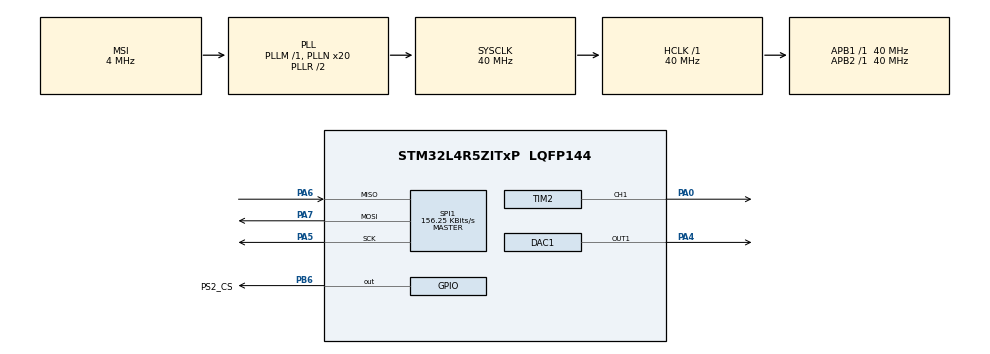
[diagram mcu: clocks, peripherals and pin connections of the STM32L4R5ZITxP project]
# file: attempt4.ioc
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DAC1.DAC_Trigger-DAC_OUT1=DAC_TRIGGER_T6_TRGO
Dma.DAC1_CH1.1.Direction=DMA_MEMORY_TO_PERIPH
Dma.DAC1_CH1.1.EventEnable=DISABLE
Dma.DAC1_CH1.1.Instance=DMA1_Channel2
Dma.DAC1_CH1.1.MemDataAlignment=DMA_MDATAALIGN_WORD
Dma.DAC1_CH1.1.MemInc=DMA_MINC_ENABLE
Dma.DAC1_CH1.1.Mode=DMA_CIRCULAR
Dma.DAC1_CH1.1.PeriphDataAlignment=DMA_PDATAALIGN_WORD
Dma.DAC1_CH1.1.PeriphInc=DMA_PINC_DISABLE
Dma.DAC1_CH1.1.Polarity=HAL_DMAMUX_REQUEST_GEN_RISING
Dma.DAC1_CH1.1.Priority=DMA_PRIORITY_LOW
Dma.DAC1_CH1.1.RequestNumber=1
Dma.DAC1_CH1.1.SignalID=NONE
Dma.DAC1_CH1.1.SyncEnable=DISABLE
Dma.DAC1_CH1.1.SyncPolarity=HAL_DMAMUX_SYNC_NO_EVENT
Dma.DAC1_CH1.1.SyncRequestNumber=1
Dma.DAC1_CH1.1.SyncSignalID=NONE
Dma.Request0=TIM2_CH1
Dma.Request1=DAC1_CH1
Dma.TIM2_CH1.0.Direction=DMA_MEMORY_TO_PERIPH
Dma.TIM2_CH1.0.EventEnable=DISABLE
Dma.TIM2_CH1.0.Instance=DMA1_Channel1
Dma.TIM2_CH1.0.MemDataAlignment=DMA_MDATAALIGN_WORD
Dma.TIM2_CH1.0.MemInc=DMA_MINC_ENABLE
Dma.TIM2_CH1.0.Mode=DMA_NORMAL
Dma.TIM2_CH1.0.PeriphDataAlignment=DMA_PDATAALIGN_WORD
Dma.TIM2_CH1.0.PeriphInc=DMA_PINC_DISABLE
Dma.TIM2_CH1.0.Polarity=HAL_DMAMUX_REQUEST_GEN_RISING
Dma.TIM2_CH1.0.Priority=DMA_PRIORITY_LOW
Dma.TIM2_CH1.0.RequestNumber=1
Dma.TIM2_CH1.0.SignalID=NONE
Dma.TIM2_CH1.0.SyncEnable=DISABLE
Dma.TIM2_CH1.0.SyncPolarity=HAL_DMAMUX_SYNC_NO_EVENT
Dma.TIM2_CH1.0.SyncRequestNumber=1
Dma.TIM2_CH1.0.SyncSignalID=NONE
Mcu.Family=STM32L4
Mcu.Name=STM32L4R5ZITxP
Mcu.Package=LQFP144
NVIC.DMA1_Channel1_IRQn=true\:0\:0\:false\:false\:true\:false\:true\:true
NVIC.DMA1_Channel2_IRQn=true\:0\:0\:false\:false\:true\:false\:true\:true
NVIC.PriorityGroup=NVIC_PRIORITYGROUP_4
NVIC.TIM2_IRQn=true\:0\:0\:false\:false\:true\:true\:true\:true
NVIC.TIM6_DAC_IRQn=true\:0\:0\:false\:false\:true\:true\:true\:true
PA0.Signal=S_TIM2_CH1
PA1.Signal=ADCx_IN6
PA10.Signal=USB_OTG_FS_ID
PA13\ (JTMS/SWDIO).Signal=SYS_JTMS-SWDIO
PA14\ (JTCK/SWCLK).Signal=SYS_JTCK-SWCLK
PA3.Signal=ADCx_IN8
PA4.Signal=COMP_DAC11_group
PA5.Mode=Full_Duplex_Master
PA5.Signal=SPI1_SCK
PA6.GPIO_PuPd=GPIO_PULLUP
PA6.Mode=Full_Duplex_Master
PA6.Signal=SPI1_MISO
PA7.Mode=Full_Duplex_Master
PA7.Signal=SPI1_MOSI
PA8.Signal=USB_OTG_FS_SOF
PA9.Signal=USB_OTG_FS_VBUS
PB0.Signal=S_TIM3_CH3
PB1.Signal=ADCx_IN16
PB10.Signal=S_TIM2_CH3
PB12.Signal=SAI2_FS_A
PB13.Signal=SAI2_SCK_A
PB14.Signal=S_TIM15_CH1
PB15.Signal=SAI2_SD_A
PB2.Signal=COMP1_INP
PB3\ (JTDO/TRACESWO).Signal=SPI3_SCK
PB4\ (NJTRST).Signal=SPI3_MISO
PB5.Signal=SPI3_MOSI
PB6.GPIO_Label=PS2_CS
PB6.Signal=GPIO_Output
PB8.Signal=I2C1_SCL
PB9.Signal=I2C1_SDA
PC0.Signal=ADCx_IN1
PC1.Signal=ADCx_IN2
PC10.Signal=SDMMC1_D2
PC11.Signal=SDMMC1_D3
PC12.Signal=SDMMC1_CK
PC13.Signal=SYS_WKUP2
PC14-OSC32_IN\ (PC14).Signal=RCC_OSC32_IN
PC15-OSC32_OUT\ (PC15).Signal=RCC_OSC32_OUT
PC2.Signal=ADCx_IN3
PC3.Signal=ADCx_IN4
PC4.Signal=ADCx_IN13
PC5.Signal=ADCx_IN14
PC6.Signal=SAI2_MCLK_A
PC7.Signal=S_TIM3_CH2
PC8.Signal=SDMMC1_D0
PC9.Signal=SDMMC1_D1
PD0.Signal=CAN1_RX
PD14.Signal=S_TIM4_CH3
PD15.Signal=S_TIM4_CH4
PD2.Signal=SDMMC1_CMD
PD3.Signal=USART2_CTS
PD4.Signal=USART2_RTS
PD5.Signal=USART2_TX
PD6.Signal=USART2_RX
PD8.Signal=USART3_TX
PD9.Signal=USART3_RX
PE0.Signal=S_TIM4_ETR
PE10.Signal=TIM1_CH2N
PE11.Signal=S_TIM1_CH2
PE12.Signal=TIM1_CH3N
PE13.Signal=S_TIM1_CH3
PE14.Signal=TIM1_BKIN2
PE15.Signal=TIM1_BKIN
PE2.Signal=SAI1_MCLK_A
PE3.Signal=SAI1_SD_B
PE7.Signal=S_TIM1_ETR
PE8.Signal=TIM1_CH1N
PE9.Signal=S_TIM1_CH1
PF0.Signal=I2C2_SDA
PF1.Signal=I2C2_SCL
PF2.Signal=I2C2_SMBA
PF7.Signal=SAI1_MCLK_B
PG7.Signal=LPUART1_TX
PG8.Signal=LPUART1_RX
PH0-OSC_IN\ (PH0).Signal=RCC_OSC_IN
PH1-OSC_OUT\ (PH1).Signal=RCC_OSC_OUT
ProjectManager.HeapSize=0x200
ProjectManager.StackSize=0x400
ProjectManager.TargetToolchain=STM32CubeIDE
RCC.AHBFreq_Value=40000000
RCC.APB1Freq_Value=40000000
RCC.APB1TimFreq_Value=40000000
RCC.APB2Freq_Value=40000000
RCC.APB2TimFreq_Value=40000000
RCC.CortexFreq_Value=40000000
RCC.HCLKFreq_Value=40000000
RCC.HSE_VALUE=8000000
RCC.HSI48_VALUE=48000000
RCC.HSI_VALUE=16000000
RCC.LSE_VALUE=32768
RCC.MSI_VALUE=4000000
RCC.PLLN=20
RCC.SYSCLKFreq_VALUE=40000000
RCC.SYSCLKSource=RCC_SYSCLKSOURCE_PLLCLK
RCC.VCOOutputFreq_Value=80000000
SH.ADCx_IN1.0=ADC1_IN1
SH.ADCx_IN13.0=ADC1_IN13
SH.ADCx_IN14.0=ADC1_IN14
SH.ADCx_IN16.0=ADC1_IN16
SH.ADCx_IN2.0=ADC1_IN2
SH.ADCx_IN3.0=ADC1_IN3
SH.ADCx_IN4.0=ADC1_IN4
SH.ADCx_IN6.0=ADC1_IN6
SH.ADCx_IN8.0=ADC1_IN8
SH.COMP_DAC11_group.0=DAC1_OUT1,DAC_OUT1
SH.S_TIM15_CH1.0=TIM15_CH1
SH.S_TIM1_CH1.0=TIM1_CH1
SH.S_TIM1_CH2.0=TIM1_CH2
SH.S_TIM1_CH3.0=TIM1_CH3
SH.S_TIM1_ETR.0=TIM1_ETR
SH.S_TIM2_CH1.0=TIM2_CH1,PWM Generation1 CH1
SH.S_TIM2_CH3.0=TIM2_CH3
SH.S_TIM3_CH2.0=TIM3_CH2
SH.S_TIM3_CH3.0=TIM3_CH3
SH.S_TIM4_CH3.0=TIM4_CH3
SH.S_TIM4_CH4.0=TIM4_CH4
SH.S_TIM4_ETR.0=TIM4_ETR
SPI1.BaudRatePrescaler=SPI_BAUDRATEPRESCALER_256
SPI1.CLKPhase=SPI_PHASE_2EDGE
SPI1.CalculateBaudRate=156.25 KBits/s
SPI1.DataSize=SPI_DATASIZE_8BIT
SPI1.Direction=SPI_DIRECTION_2LINES
SPI1.FirstBit=SPI_FIRSTBIT_LSB
SPI1.Mode=SPI_MODE_MASTER
SPI1.VirtualType=VM_MASTER
TIM2.Channel-PWM\ Generation1\ CH1=TIM_CHANNEL_1
TIM2.Period=49
TIM2.Pulse-PWM\ Generation1\ CH1=0
TIM6.Period=99
TIM6.Prescaler=19
TIM6.TIM_MasterOutputTrigger=TIM_TRGO_UPDATE
VP_TIM2_VS_ClockSourceINT.Mode=Internal
VP_TIM6_VS_ClockSourceINT.Mode=Enable_Timer
board=NUCLEO-L4R5ZI-P

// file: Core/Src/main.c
/* USER CODE BEGIN Header */
/**
  ******************************************************************************
  * @file           : main.c
  * @brief          : Main program body
  ******************************************************************************
  * @attention
  *
  * Copyright (c) 2025 STMicroelectronics.
  * All rights reserved.
  *
  * This software is licensed under terms that can be found in the LICENSE file
  * in the root directory of this software component.
  * If no LICENSE file comes with this software, it is provided AS-IS.
  *
  ******************************************************************************
  */
/* USER CODE END Header */
#include "main.h"

/* USER CODE BEGIN Includes */
#include <math.h>
#include <stdlib.h>   // for random

/* USER CODE END Includes */

/* USER CODE BEGIN PTD */

// stores data for one led
typedef struct ledData{
	uint8_t r;
	uint8_t g;
	uint8_t b;
};

/* USER CODE END PTD */

/* USER CODE BEGIN PD */
#define PS2_SELECT      0x0001
#define PS2_L3          0x0002
#define PS2_R3          0x0004
#define PS2_START       0x0008
#define PS2_UP          0x0010
#define PS2_RIGHT       0x0020
#define PS2_DOWN        0x0040
#define PS2_LEFT        0x0080
#define PS2_L2          0x0100
#define PS2_R2          0x0200
#define PS2_L1          0x0400
#define PS2_R1          0x0800
#define PS2_TRIANGLE    0x1000
#define PS2_CIRCLE      0x2000
#define PS2_X       0x4000
#define PS2_SQUARE      0x8000

// CS control macros
#define PS2_CS_LOW()  HAL_GPIO_WritePin(PS2_CS_GPIO_Port, PS2_CS_Pin, GPIO_PIN_RESET)
#define PS2_CS_HIGH() HAL_GPIO_WritePin(PS2_CS_GPIO_Port, PS2_CS_Pin, GPIO_PIN_SET)

// Audio Settings
#define SAMPLE_RATE 20000   // Timer 6 will run at this fixed frequency
#define BUFFER_SIZE 256     // Size of the DMA buffer (processed in two halves of 128)
#define SINE_RES 2048       // Resolution of our sine wave table (larger = smoother)

// notes
#define B2 123.47
#define C3 130.81
#define C3S 138.59
#define D3 146.83
#define D3S 155.56
#define E3 164.81
#define F3 174.61
#define F3S 185.00
#define G3 196.00
#define G3S 207.65
#define A3 220.00
#define A3S 233.08
#define B3 246.94
#define C4 261.63
#define C4S 277.18
#define D4 293.66
#define D4S 311.13
#define E4 329.63
#define F4 349.23
#define F4S 369.99
#define G4 392.00
#define G4S 415.30
#define A4 440.00
#define A4S 466.16
#define B4 493.88
#define C5 523.25
#define C5S 554.37
#define D5 587.33
#define D5S 622.25
#define E5 659.25
#define F5 698.46
#define F5S 739.99
#define G5 783.99
#define G5S 830.61
#define A5 880.00
#define A5S 932.33
#define B5 987.77
#define C6 1046.50
#define C6S 1108.73
#define D6 1174.66
#define D6S 1244.51
#define E6 1318.51
#define F6 1396.91
#define F6S 1479.98
#define G6 1567.98

/* USER CODE END PD */

DAC_HandleTypeDef hdac1;
DMA_HandleTypeDef hdma_dac1_ch1;

SPI_HandleTypeDef hspi1;

TIM_HandleTypeDef htim2;
TIM_HandleTypeDef htim6;
DMA_HandleTypeDef hdma_tim2_ch1;

/* USER CODE BEGIN PV */

//                   _         _   _
//                  (_)       | | | |
//   _ __ ___   __ _ _ _ __   | |_| |__   ___ _ __ ___   ___
//  | '_ ` _ \ / _` | | '_ \  | __| '_ \ / _ \ '_ ` _ \ / _ \
//  | | | | | | (_| | | | | | | |_| | | |  __/ | | | | |  __/
//  |_| |_| |_|\__,_|_|_| |_|  \__|_| |_|\___|_| |_| |_|\___|
//  ========  composed by Ishan Kumar - 11/25/2025  =========
				          // 1                            //2                             //3                             //4                             //5                             //6                             //7                             //8                             //9                             //10                            //11                            //12                            //13                            //14                            //15                            //16
int bass[128]          = {E3, E4, E3, E4, E3, E4, E3, E4, E3, E4, E3, E4, E3, E4, E3, E4, D3, D4, D3, D4, D3, D4, D3, D4, D3, D4, D3, D4, D3, D4, D3, D4, C3, C4, C3, C4, C3, C4, C3, C4, C3, C4, C3, C4, C3, C4, C3, C4, B2, B3, B2, B3, B2, B3, B2, B3, B2, B3, B2, B3, B2, B3, B2, B3, E3, E4, E3, E4, E3, E4, E3, E4, E3, E4, E3, E4, E3, E4, E3, E4, D3, D4, D3, D4, D3, D4, D3, D4, D3, D4, D3, D4, D3, D4, D3, D4, C3, C4, C3, C4, C3, C4, C3, C4, C3, C4, C3, C4, C3, C4, C3, C4, B2, B3, B2, B3, B2, B3, B2, B3, B2, B3, B2, B3, B2, B3, B2, B3 };
int melody[128]        = {B5, B5, G5, G5, E5, E5, E5, E5, 00, E5, 00, C6, B5, B5, A5, A5, B5, B5, G5, G5, E5, E5, E5, E5, 00, E5, 00, C6, B5, B5, A5, A5, B5, B5, G5, G5, E5, E5, E5, E5, 00, E5, 00, C6, B5, B5, A5, A5, B5, B5, C6, B5, B5, C6, B5, B5, C6, B5, B5, B5, B5, B5, B5, B5, B5, B5, G5, G5, E5, E5, E5, E5, 00, E5, 00, C6, B5, B5, A5, A5, B5, B5, G5, G5, E5, E5, E5, E5, 00, E5, 00, C6, B5, B5, A5, A5, B5, B5, G5, G5, E5, E5, E5, E5, 00, E5, 00, C6, B5, B5, A5, A5, B5, B5, C6, B5, B5, C6, B5, B5, C6, B5, B5, B5, B5, B5, B5, B5 };
int counterMelody[128] = {00, 00, 00, 00, 00, 00, 00, 00, 00, 00, 00, 00, 00, 00, 00, 00, 00, 00, 00, 00, 00, 00, 00, 00, 00, 00, 00, 00, 00, 00, 00, 00, 00, 00, 00, 00, 00, 00, 00, 00, 00, 00, 00, 00, 00, 00, 00, 00, 00, 00, 00, 00, 00, D3S,00, D3S,00, D3S,00, D3S,00, D3S,00, D3S,E6, E6, E6, E6, E6, E6, E6, E6, E6, E6, E6, E6, G6, G6, G6, G6, F6S,F6S,F6S,F6S,F6S,F6S,F6S,F6S,F6S,F6S,F6S,F6S,D6S,D6S,D6S,D6S,E6, E6, E6, E6, E6, E6, E6, E6, E6, E6, E6, E6, D6S,D6S,D6S,D6S,00, 00, 00, 00, 00, D3S,00, D3S,00, D3S,00, D3S,00, D3S,00, D3S};
int chordSupport[128]  = {00, 00, 00, 00, 00, 00, 00, 00, 00, 00, 00, 00, 00, 00, 00, 00, 00, 00, 00, 00, 00, 00, 00, 00, 00, 00, 00, 00, 00, 00, 00, 00, 00, 00, 00, 00, 00, 00, 00, 00, 00, 00, 00, 00, 00, 00, 00, 00, 00, 00, 00, 00, 00, 00 ,00, 00 ,00, F3S,00, F3S,00, F3S,00, F3S,00, 00, 00, 00, 00, 00, 00, 00, 00, 00, 00, 00, 00, 00, 00, 00, 00, 00, 00, 00, 00, 00, 00, 00, 00, 00, 00, 00, 00, 00, 00, 00, 00, 00, 00, 00, 00, 00, 00, 00, 00, 00, 00, 00, 00, 00, 00, 00, 00, 00, 00, 00, 00, 00 ,00, 00 ,00, F3S,00, F3S,00, F3S,00, F3S};

//minesweeper variables
#define GRID_W 24
#define GRID_H 24

typedef enum {
    TILE_EMPTY = 0,
    TILE_1,
    TILE_2,
    TILE_3,
    TILE_BOMB
} TileContent;

typedef enum {
    STATE_HIDDEN = 0,
    STATE_REVEALED,
    STATE_FLAGGED
} TileState;

TileContent board[GRID_H][GRID_W];
TileState  tileState[GRID_H][GRID_W];

int gameOver = 0;
int gameWon = 0;
int winPulseTimer = 0;
int testMode = 0;

//this is gonna break bruh
int animRevealStep[GRID_H][GRID_W];
int floodAnimating = 0;
int floodAnimFrame = 0;
int floodAnimTimer = 0;
int floodMaxStep = 0;

int cursorX = 0;
int cursorY = 0;

int flagSoundToggle = 0;
int playedLosingSoundEffect = 0;

// PS2 Controller variables
int32_t current_value = 50;
uint16_t prev_buttons = 0xFFFF;

// storage for whole screen
#define NUM_LEDS (GRID_W * GRID_H)
struct ledData storage[NUM_LEDS];

// buffer storage
#define RESET_PULSES 60 // need this because stm has done nothing but ruin my life and im tired of it
uint32_t pwmBuffer[RESET_PULSES + (NUM_LEDS * 24)]; // 24 bits per led (plus our 60 0s at the start)

// audio stuffs
uint32_t dmaBuffer[BUFFER_SIZE];
int16_t sineLUT[SINE_RES];

// Voice Structure (Represents one "Note")
typedef struct {
    uint8_t active;
    float frequency;
    float phase;       // Current position in the sine wave
    float phaseStep;   // How much to step forward per sample
} Voice;

// 5th voice (index 4) reserved for sound effects
#define MAX_VOICES 5
Voice voices[MAX_VOICES];

// Initialization Flag
uint8_t audioInitialized = 0;

//brightness variable
uint8_t brightness = 40;

/* USER CODE END PV */

void SystemClock_Config(void);
static void MX_GPIO_Init(void);
static void MX_DMA_Init(void);
static void MX_TIM2_Init(void);
static void MX_SPI1_Init(void);
static void MX_DAC1_Init(void);
static void MX_TIM6_Init(void);
/* USER CODE BEGIN PFP */

// PS2 Controller function prototypes
uint8_t PS2_TransferByte(uint8_t data);
uint8_t PS2_ReadController(uint16_t *buttons);
void PS2_Init(void);
void PS2_ProcessButtons(uint16_t buttons);
void PS2_MainTask(void);

//minesweeper functions
void Minesweeper_Render(void);
void setPixel(int x, int y, uint8_t r, uint8_t g, uint8_t b);
void revealTileAtCursor(void);
void toggleFlagAtCursor(void);
void onXPress(void);
void floodReveal(int startX, int startY);
void checkWin(void);
//16 x 16 grid for now

/* USER CODE END PFP */

/* USER CODE BEGIN 0 */

void InitAudio() {
    // 1. Generate a high-res sine table
    for(int i = 0; i < SINE_RES; i++) {
        // Range: -1900 to +1900
        sineLUT[i] = (int16_t)(1900.0f * sinf(2.0f * 3.14159f * (float)i / (float)SINE_RES));
    }

    // 2. Clear voices
    for(int i = 0; i < MAX_VOICES; i++) {
        voices[i].active = 0;
        voices[i].phase = 0;
    }

    // 3. Start Timer at FIXED frequency (e.g. 22kHz)
    // Note: Configure TIM6 in CubeMX to trigger at 22000Hz
    HAL_TIM_Base_Start(&htim6);

    // 4. Start DAC with Circular DMA
    HAL_DAC_Start_DMA(&hdac1, DAC_CHANNEL_1, (uint32_t*)dmaBuffer, BUFFER_SIZE, DAC_ALIGN_12B_R);

    audioInitialized = 1;
}

// Process a portion of the buffer (start to end)
void FillBuffer(uint32_t *buffer, int start, int length) {
    for (int i = 0; i < length; i++) {
        int32_t sampleAccumulator = 0;
        int activeCount = 0;

        // Loop through all voices (Polyphony!)
        for (int v = 0; v < MAX_VOICES; v++) {
            if (voices[v].active) {
                // 1. Get the integer part of the phase index
                int idx = (int)voices[v].phase;

                // 2. Add sample from LUT to accumulator
                sampleAccumulator += sineLUT[idx];

                // 3. Advance phase
                voices[v].phase += voices[v].phaseStep;

                // 4. Wrap phase if it exceeds table size
                if (voices[v].phase >= SINE_RES) {
                    voices[v].phase -= SINE_RES;
                }
                activeCount++;
            }
        }

        // 5. Handling Volume/Clipping
        // If we simply add two waves of 1900 amplitude, we get 3800.
        // 3800 + 2048 (center) = 5848 -> DAC Overflow!
        // Simple fix: Divide result by number of active voices or a fixed number.
        if (activeCount > 0) {
            sampleAccumulator /= activeCount; // Auto-gain
        }

        // 6. Write to buffer: Center Offset + Mixed Signal
        buffer[start + i] = (uint32_t)(2048 + sampleAccumulator);
    }
}

// Called when first half of buffer is played
void HAL_DAC_ConvHalfCpltCallbackCh1(DAC_HandleTypeDef *hdac) {
    FillBuffer(dmaBuffer, 0, BUFFER_SIZE / 2);
}

// Called when second half of buffer is played
void HAL_DAC_ConvCpltCallbackCh1(DAC_HandleTypeDef *hdac) {
    FillBuffer(dmaBuffer, BUFFER_SIZE / 2, BUFFER_SIZE / 2);
}

void PlayNote(int voiceIndex, float freq) {
    if (voiceIndex >= MAX_VOICES) return;

    if (freq == 0) {
        voices[voiceIndex].active = 0;
    } else {
        // Calculate Step Size
        // Formula: Step = (LUT_Size * Freq) / Sample_Rate
        voices[voiceIndex].phaseStep = ((float)SINE_RES * freq) / (float)SAMPLE_RATE;
        voices[voiceIndex].active = 1;
    }
}

void Minesweeper_InitBoard(void) {
    // 0) Reset state
    gameOver = 0;
    gameWon  = 0;
    winPulseTimer = 0;

    //animation stuff
    floodAnimating = 0;
    floodAnimFrame = 0;
    floodAnimTimer = 0;
    floodMaxStep   = 0;

    // clear state
    for (int y = 0; y < GRID_H; y++) {
        for (int x = 0; x < GRID_W; x++) {
            board[y][x] = TILE_EMPTY;
            tileState[y][x] = STATE_HIDDEN;
        }
    }

    // bombs
    if (testMode) {
        //one bomb in middle test mode
        int cx = GRID_W / 2;   // for 16 to 8
        int cy = GRID_H / 2;   // for 16 to 8
        if (cx >= GRID_W) cx = GRID_W - 1;
        if (cy >= GRID_H) cy = GRID_H - 1;
        board[cy][cx] = TILE_BOMB;
    } else {
       //normal
        srand(HAL_GetTick());

        int numBombs = 40;      // adjutsable
        int placed = 0;

        while (placed < numBombs) {
            int rx = rand() % GRID_W;
            int ry = rand() % GRID_H;

            if (board[ry][rx] != TILE_BOMB) {
                board[ry][rx] = TILE_BOMB;
                placed++;
            }
        }
    }

    // adjacency computing
    for (int y = 0; y < GRID_H; y++) {
        for (int x = 0; x < GRID_W; x++) {

            if (board[y][x] == TILE_BOMB)
                continue;

            int neighbors = 0;

            for (int dy = -1; dy <= 1; dy++) {
                for (int dx = -1; dx <= 1; dx++) {
                    if (dx == 0 && dy == 0) continue;
                    int nx = x + dx;
                    int ny = y + dy;
                    if (nx < 0 || nx >= GRID_W || ny < 0 || ny >= GRID_H)
                        continue;

                    if (board[ny][nx] == TILE_BOMB)
                        neighbors++;
                }
            }

            // can add more with diffculty scaling, net steps
            switch (neighbors) {
                case 0: board[y][x] = TILE_EMPTY; break;
                case 1: board[y][x] = TILE_1;     break;
                case 2: board[y][x] = TILE_2;     break;
                default: board[y][x] = TILE_3;    break;
            }
        }
    }
}

//inprogress // see if i can make it a ripple

void checkWin(void){
	if(gameOver) return;
    for (int y = 0; y < GRID_H; y++) {
        for (int x = 0; x < GRID_W; x++) {
            if (board[y][x] != TILE_BOMB &&
                tileState[y][x] != STATE_REVEALED) {

                return;
            }
        }
    }

    //status check
    gameOver = 1;
    gameWon  = 1;
}

//not fulyl working yet
void floodReveal(int startX, int startY) {
    // clear animation
    for (int y = 0; y < GRID_H; y++) {
        for (int x = 0; x < GRID_W; x++) {
            animRevealStep[y][x] = -1;
        }
    }

    int qx[GRID_W * GRID_H];
    int qy[GRID_W * GRID_H];
    int qd[GRID_W * GRID_H];
    int head = 0;
    int tail = 0;

    qx[tail] = startX;
    qy[tail] = startY;
    qd[tail] = 0;
    tail++;

    floodMaxStep = 0;

    while (head < tail) {
        int x = qx[head];
        int y = qy[head];
        int d = qd[head];
        head++;

        // bounds
        if (x < 0 || x >= GRID_W || y < 0 || y >= GRID_H)
            continue;

        // skip bombs
        if (board[y][x] == TILE_BOMB)
            continue;

        // skip flagged
        if (tileState[y][x] == STATE_FLAGGED ||
            tileState[y][x] == STATE_REVEALED)
            continue;

        // logical reveal
        tileState[y][x] = STATE_REVEALED;

        // rstore
        animRevealStep[y][x] = d;
        if (d > floodMaxStep) {
            floodMaxStep = d;
        }

        // problem here i think
        if (board[y][x] == TILE_EMPTY) {
            for (int dy = -1; dy <= 1; dy++) {
                for (int dx = -1; dx <= 1; dx++) {
                    if (dx == 0 && dy == 0) continue;
                    int nx = x + dx;
                    int ny = y + dy;
                    if (nx < 0 || nx >= GRID_W || ny < 0 || ny >= GRID_H)
                        continue;

                    if (board[ny][nx] == TILE_BOMB)
                        continue;

                    if (tileState[ny][nx] == STATE_HIDDEN) {
                        if (tail < GRID_W * GRID_H) {
                            qx[tail] = nx;
                            qy[tail] = ny;
                            qd[tail] = d + 1;
                            tail++;
                        }
                    }
                }
            }
        }
    }

    // enable
    floodAnimating = 1;
    floodAnimFrame = 0;
    floodAnimTimer = 0;
}

static inline uint8_t scaleColor(uint8_t c) {
    return (c * brightness) / 255;
}

static void colorForNumber(TileContent t, uint8_t *r, uint8_t *g, uint8_t *b) {
    switch (t) {
        case TILE_1: *r = 0;   *g = 0;   *b = 180; break; // blue
        case TILE_2: *r = 0;   *g = 180; *b = 0;   break; // green
        //case TILE_3: *r = 255; *g = 120;   *b = 0;   break; // orange
        case TILE_3: *r = 220; *g = 0;   *b = 140;   break; // pink
        default:      *r = 0;   *g = 0;   *b = 0;   break;
    }
}

void Minesweeper_Render(void) {
    for (int y = 0; y < GRID_H; y++) {
        for (int x = 0; x < GRID_W; x++) {

            uint8_t r = 0, g = 0, b = 0;

            if (gameOver && !gameWon && board[y][x] == TILE_BOMB) {
            	//shows bombs
                        r = 200; g = 0; b = 0;
            } else {
                switch (tileState[y][x]) {
                    case STATE_HIDDEN:
                        // grey for hidden
                        r = g = b = 0;
                        break;

                    case STATE_FLAGGED:
                        // flagged = yello
                        r = 200; g = 200; b = 0;
                        break;

                    case STATE_REVEALED:
                       //goes with ripple
                        if (floodAnimating &&
                            animRevealStep[y][x] >= 0 &&
                            animRevealStep[y][x] > floodAnimFrame
                           )
                        {

                            r = g = b = 0; //hidden
                        }
                        else
                        {

                            if (board[y][x] == TILE_BOMB) {
                                r = 200; g = 0; b = 0;
                            } else if (board[y][x] == TILE_EMPTY) {
                                r = g = b = 40;
                            } else {
                                colorForNumber(board[y][x], &r, &g, &b);
                            }
                        }
                        break;
                }
            }

            //new game won function, pulsing green
            if (gameWon) {

                int pulse = winPulseTimer % 100;
                int bright = (pulse < 50) ? pulse : (100 - pulse);

                uint8_t gv = bright * 4;

                r = 0;
                g = gv;
                b = 0;
            }

            // Cursor highlight overlay
            if (!gameWon && x == cursorX && y == cursorY) {
//                if (r < 40) r = 40;
//                if (g < 40) g = 40;
//                if (b < 40) b = 40;

            	//above is for whie
            	r =255;
				g = 0;
				b = 0;

            }

            setPixel(x, y,
                     scaleColor(r),
                     scaleColor(g),
                     scaleColor(b));
        }
    }
}

void revealTileAtCursor(void) {
    if (gameOver) return;

    int x = cursorX;
    int y = cursorY;

    // don't reveal already revealed or flagged
    if (tileState[y][x] == STATE_REVEALED ||
        tileState[y][x] == STATE_FLAGGED) {
        return;
    }

    // bomb end game
    if (board[y][x] == TILE_BOMB) {
        tileState[y][x] = STATE_REVEALED;
        gameOver = 1;
        return;
    }

    if (board[y][x] == TILE_EMPTY) {
        floodReveal(x, y);
        checkWin();
        return;
    }

    tileState[y][x] = STATE_REVEALED;
    checkWin();
}

void toggleFlagAtCursor(void) {
    if (gameOver) return;

    TileState *s = &tileState[cursorY][cursorX];
    if (*s == STATE_HIDDEN) {
        *s = STATE_FLAGGED;
    } else if (*s == STATE_FLAGGED) {
        *s = STATE_HIDDEN;
    }
}

void onXPress() {
    revealTileAtCursor();
}

uint8_t PS2_TransferByte(uint8_t data) {
    uint8_t rx_data;
    HAL_SPI_TransmitReceive(&hspi1, &data, &rx_data, 1, 100);
    return rx_data;
}

//debugging below
uint8_t PS2_ReadController(uint16_t *buttons) {
    uint8_t data[9] = {0};

    // Pull ATT low to start communication
    PS2_CS_LOW();
    HAL_Delay(20);

    // Send command sequence
    uint8_t cmd[9] = {0x01, 0x42, 0x00, 0x00, 0x00, 0x00, 0x00, 0x00, 0x00};
    HAL_SPI_TransmitReceive(&hspi1, cmd, data, 9, 100);
    // Pull ATT high to end communication
    PS2_CS_HIGH();
    HAL_Delay(10);

   //debug
//    printf("Response bytes: %02X %02X %02X %02X %02X %02X %02X %02X %02X\r\n",
//           data[0], data[1], data[2], data[3], data[4], data[5], data[6], data[7], data[8]);

     //DON'T validate - just always return success for debugging
    *buttons = (data[4] << 8) | data[3];
   // printf("button value: %x", *buttons);
    return 1;
}

void PS2_Init(void) {
    PS2_CS_HIGH();
    HAL_Delay(500);  // Let controller fully stabilize

    // Flush initial garbage reads - READ BUT IGNORE
    uint16_t dummy;
    for (int i = 0; i < 10; i++) {
        PS2_ReadController(&dummy);
        HAL_Delay(50);
    }

    // Reset button state after flushing
    prev_buttons = 0xFFFF;  // All buttons released
}

void PS2_ProcessButtons(uint16_t buttons) {

    if (buttons == 0xFFFF) {
        return;
    }
    uint16_t pressed = (~buttons) & (prev_buttons);
    prev_buttons = buttons;
    if (pressed == 0) {
        return;
    }

    if (pressed & PS2_UP) {
    	if (cursorY == GRID_H - 1){
    		cursorY = 0;
    	} else {
    		cursorY++;
    	}
    }

    if (pressed & PS2_DOWN) {
    	if (cursorY == 0){
    		cursorY == GRID_H - 1;
    	} else {
    		cursorY--;
    	}
    }

    if (pressed & PS2_LEFT) {
    	if (cursorX == 0){
    		cursorX = GRID_W - 1;
    	} else {
    		cursorX--;
    	}
    }

    if (pressed & PS2_RIGHT) {
    	if (cursorX == GRID_W - 1){
    		cursorX = 0;
    	} else {
    		cursorX++;
    	}
    }

    if (pressed & PS2_X) {
    	onXPress();
    }

    if (pressed & PS2_CIRCLE) { //minsweeper flag
        toggleFlagAtCursor();
        flagSoundToggle = 1;
    }

    if (pressed & PS2_TRIANGLE) {
        Minesweeper_InitBoard();
        cursorX = 0;
        cursorY = 0;
        playedLosingSoundEffect = 0;
    }
    if (pressed & PS2_SQUARE) {
        // tyoggle test
        if (testMode == 0) {
            testMode = 1;  // enter  test mode
        } else {
            testMode = 0;  // go back to normal random mode
        }

        Minesweeper_InitBoard();  // rebuild board using new mode
        cursorX = 0;
        cursorY = 0;
    }
}

void PS2_MainTask(void){
    uint16_t buttons;

    PS2_ReadController(&buttons);
    PS2_ProcessButtons(buttons);
}

// this code runs when the data transfer is complete and stops it from repeating
void HAL_TIM_PWM_PulseFinishedCallback(TIM_HandleTypeDef *htim){
	HAL_TIM_PWM_Stop_DMA(&htim2, TIM_CHANNEL_1);
	HAL_TIM_PWM_Stop(&htim2, TIM_CHANNEL_1);
}

// write all leds to buffer
void writeLedsToBuffer(){
	for (int i = 0; i < 60; i++){
		pwmBuffer[i] = 0; // i hate you stm. why.
	}

	for (int i = 0; i < NUM_LEDS; i++){
		// write g data
		for (int bit = 0; bit < 8; bit++){
			int temp = (storage[i].g >> bit) & 1; // take one bit at a time
			if (temp == 1){
				// index to spot in buffer
				pwmBuffer[RESET_PULSES + (i*24) + 7 - bit] = 32; // CCR value for high
			} else {
				pwmBuffer[RESET_PULSES + (i*24) + 7 - bit] = 16; // CCR value for low
			}
		}

		// write r data
		for (int bit = 0; bit < 8; bit++){
			int temp = (storage[i].r >> bit) & 1; // take one bit at a time
			if (temp == 1){
				// index to spot in buffer
				pwmBuffer[RESET_PULSES + (i*24) + 8 + 7 - bit] = 32; // CCR value for high
			} else {
				pwmBuffer[RESET_PULSES + (i*24) + 8 + 7 - bit] = 16; // CCR value for low
			}
		}

		// write b data
		for (int bit = 0; bit < 8; bit++){
			int temp = (storage[i].b >> bit) & 1; // take one bit at a time
			if (temp == 1){
				// index to spot in buffer
				pwmBuffer[RESET_PULSES + (i*24) + 16 + 7 - bit] = 32; // CCR value for high
			} else {
				pwmBuffer[RESET_PULSES + (i*24) + 16 + 7 - bit] = 16; // CCR value for low
			}
		}
	}
}

void showLeds(){
	writeLedsToBuffer();
	HAL_TIM_PWM_Start_DMA(&htim2, TIM_CHANNEL_1, pwmBuffer, RESET_PULSES + (NUM_LEDS * 24));
}

// test this
// x and y -> 0 to 15 each.
// r, g, and b -> 0 to 255 each.
void setPixel(int x, int y, uint8_t r, uint8_t g, uint8_t b){

  int realIndex = 0;

  if (y % 2 == 0) {
    // even row
	  realIndex = y * GRID_W + x;
  } else {
    // odd row (reversed)
	  realIndex = y * GRID_W + (GRID_W - 1 - x);
  }

  storage[realIndex] = (struct ledData){r, g, b};
}

/* USER CODE END 0 */

int main(void)
{

  /* MCU Configuration--------------------------------------------------------*/

  /* Reset of all peripherals, Initializes the Flash interface and the Systick. */
  HAL_Init();

  /* Configure the system clock */
  SystemClock_Config();

  /* Initialize all configured peripherals */
  MX_GPIO_Init();
  MX_DMA_Init();
  MX_TIM2_Init();
  MX_SPI1_Init();
  MX_DAC1_Init();
  MX_TIM6_Init();
  /* USER CODE BEGIN 2 */

  InitAudio();

  //HAL_TIM_PWM_Start_DMA(&htim2, TIM_CHANNEL_1, pwmData, 4);
  //HAL_TIM_PWM_Start(&htim2, TIM_CHANNEL_1);

    PS2_Init();
    Minesweeper_InitBoard();

  /* USER CODE END 2 */

  /* Infinite loop */
  /* USER CODE BEGIN WHILE */

  int currNote = 0;
  int prescalerForMusic = 0;

  while (1)
  {
	// if game over, play sad trombone
	if (gameOver && !playedLosingSoundEffect){
	    PlayNote(0, D5);
	    PlayNote(1, 0);
	    PlayNote(2, 0);
	    PlayNote(3, 0);
	    HAL_Delay(600);
	    PlayNote(0, C5S);
	    HAL_Delay(600);
	    PlayNote(0, C5);
	    HAL_Delay(600);
	    PlayNote(0, B4);
	    HAL_Delay(3000);
	    playedLosingSoundEffect = 1;
	}

	// play music
	if (prescalerForMusic < 3){
		prescalerForMusic++;
	} else {
		prescalerForMusic = 0;

		// every 185 ms
		if (currNote == 128) {
			currNote = 0;
		} else {
		    PlayNote(0, bass[currNote]);
		    PlayNote(1, melody[currNote]);
		    PlayNote(2, counterMelody[currNote]);
		    PlayNote(3, chordSupport[currNote]);
		    PlayNote(4, 0);

		    if (flagSoundToggle){
			    PlayNote(4, C5);
			    flagSoundToggle = 0;
		    }

		    currNote++;
		}
	}

	PS2_MainTask();        // read controller, update cursor + buttons
    Minesweeper_Render();  // draw entire board + cursor into storage[]
    showLeds();            // send storage[] out via DMAf

    if (gameWon) {
        winPulseTimer++;
    }
    //anjimattion
    if (floodAnimating) {
        floodAnimTimer++;
                 if (floodAnimTimer >= 3) {
            floodAnimTimer = 0;
            floodAnimFrame++;

            if (floodAnimFrame > floodMaxStep) {
                floodAnimating = 0;
            }
        }
    }

    HAL_Delay(5);

    /* USER CODE END WHILE */

  }
}

void SystemClock_Config(void)
{
  RCC_OscInitTypeDef RCC_OscInitStruct = {0};
  RCC_ClkInitTypeDef RCC_ClkInitStruct = {0};

  /** Configure the main internal regulator output voltage
  */
  if (HAL_PWREx_ControlVoltageScaling(PWR_REGULATOR_VOLTAGE_SCALE1) != HAL_OK)
  {
    Error_Handler();
  }

  /** Initializes the RCC Oscillators according to the specified parameters
  * in the RCC_OscInitTypeDef structure.
  */
  RCC_OscInitStruct.OscillatorType = RCC_OSCILLATORTYPE_MSI;
  RCC_OscInitStruct.MSIState = RCC_MSI_ON;
  RCC_OscInitStruct.MSICalibrationValue = 0;
  RCC_OscInitStruct.MSIClockRange = RCC_MSIRANGE_6;
  RCC_OscInitStruct.PLL.PLLState = RCC_PLL_ON;
  RCC_OscInitStruct.PLL.PLLSource = RCC_PLLSOURCE_MSI;
  RCC_OscInitStruct.PLL.PLLM = 1;
  RCC_OscInitStruct.PLL.PLLN = 20;
  RCC_OscInitStruct.PLL.PLLP = RCC_PLLP_DIV2;
  RCC_OscInitStruct.PLL.PLLQ = RCC_PLLQ_DIV2;
  RCC_OscInitStruct.PLL.PLLR = RCC_PLLR_DIV2;
  if (HAL_RCC_OscConfig(&RCC_OscInitStruct) != HAL_OK)
  {
    Error_Handler();
  }

  /** Initializes the CPU, AHB and APB buses clocks
  */
  RCC_ClkInitStruct.ClockType = RCC_CLOCKTYPE_HCLK|RCC_CLOCKTYPE_SYSCLK
                              |RCC_CLOCKTYPE_PCLK1|RCC_CLOCKTYPE_PCLK2;
  RCC_ClkInitStruct.SYSCLKSource = RCC_SYSCLKSOURCE_PLLCLK;
  RCC_ClkInitStruct.AHBCLKDivider = RCC_SYSCLK_DIV1;
  RCC_ClkInitStruct.APB1CLKDivider = RCC_HCLK_DIV1;
  RCC_ClkInitStruct.APB2CLKDivider = RCC_HCLK_DIV1;

  if (HAL_RCC_ClockConfig(&RCC_ClkInitStruct, FLASH_LATENCY_1) != HAL_OK)
  {
    Error_Handler();
  }
}

static void MX_DAC1_Init(void)
{

  DAC_ChannelConfTypeDef sConfig = {0};

  /** DAC Initialization
  */
  hdac1.Instance = DAC1;
  if (HAL_DAC_Init(&hdac1) != HAL_OK)
  {
    Error_Handler();
  }

  /** DAC channel OUT1 config
  */
  sConfig.DAC_SampleAndHold = DAC_SAMPLEANDHOLD_DISABLE;
  sConfig.DAC_Trigger = DAC_TRIGGER_T6_TRGO;
  sConfig.DAC_HighFrequency = DAC_HIGH_FREQUENCY_INTERFACE_MODE_DISABLE;
  sConfig.DAC_OutputBuffer = DAC_OUTPUTBUFFER_ENABLE;
  sConfig.DAC_ConnectOnChipPeripheral = DAC_CHIPCONNECT_DISABLE;
  sConfig.DAC_UserTrimming = DAC_TRIMMING_FACTORY;
  if (HAL_DAC_ConfigChannel(&hdac1, &sConfig, DAC_CHANNEL_1) != HAL_OK)
  {
    Error_Handler();
  }

}

static void MX_SPI1_Init(void)
{

  /* SPI1 parameter configuration*/
  hspi1.Instance = SPI1;
  hspi1.Init.Mode = SPI_MODE_MASTER;
  hspi1.Init.Direction = SPI_DIRECTION_2LINES;
  hspi1.Init.DataSize = SPI_DATASIZE_8BIT;
  hspi1.Init.CLKPolarity = SPI_POLARITY_LOW;
  hspi1.Init.CLKPhase = SPI_PHASE_2EDGE;
  hspi1.Init.NSS = SPI_NSS_SOFT;
  hspi1.Init.BaudRatePrescaler = SPI_BAUDRATEPRESCALER_256;
  hspi1.Init.FirstBit = SPI_FIRSTBIT_LSB;
  hspi1.Init.TIMode = SPI_TIMODE_DISABLE;
  hspi1.Init.CRCCalculation = SPI_CRCCALCULATION_DISABLE;
  hspi1.Init.CRCPolynomial = 7;
  hspi1.Init.CRCLength = SPI_CRC_LENGTH_DATASIZE;
  hspi1.Init.NSSPMode = SPI_NSS_PULSE_DISABLE;
  if (HAL_SPI_Init(&hspi1) != HAL_OK)
  {
    Error_Handler();
  }

}

static void MX_TIM2_Init(void)
{

  TIM_ClockConfigTypeDef sClockSourceConfig = {0};
  TIM_MasterConfigTypeDef sMasterConfig = {0};
  TIM_OC_InitTypeDef sConfigOC = {0};

  htim2.Instance = TIM2;
  htim2.Init.Prescaler = 0;
  htim2.Init.CounterMode = TIM_COUNTERMODE_UP;
  htim2.Init.Period = 49;
  htim2.Init.ClockDivision = TIM_CLOCKDIVISION_DIV1;
  htim2.Init.AutoReloadPreload = TIM_AUTORELOAD_PRELOAD_DISABLE;
  if (HAL_TIM_Base_Init(&htim2) != HAL_OK)
  {
    Error_Handler();
  }
  sClockSourceConfig.ClockSource = TIM_CLOCKSOURCE_INTERNAL;
  if (HAL_TIM_ConfigClockSource(&htim2, &sClockSourceConfig) != HAL_OK)
  {
    Error_Handler();
  }
  if (HAL_TIM_PWM_Init(&htim2) != HAL_OK)
  {
    Error_Handler();
  }
  sMasterConfig.MasterOutputTrigger = TIM_TRGO_RESET;
  sMasterConfig.MasterSlaveMode = TIM_MASTERSLAVEMODE_DISABLE;
  if (HAL_TIMEx_MasterConfigSynchronization(&htim2, &sMasterConfig) != HAL_OK)
  {
    Error_Handler();
  }
  sConfigOC.OCMode = TIM_OCMODE_PWM1;
  sConfigOC.Pulse = 0;
  sConfigOC.OCPolarity = TIM_OCPOLARITY_HIGH;
  sConfigOC.OCFastMode = TIM_OCFAST_DISABLE;
  if (HAL_TIM_PWM_ConfigChannel(&htim2, &sConfigOC, TIM_CHANNEL_1) != HAL_OK)
  {
    Error_Handler();
  }
  HAL_TIM_MspPostInit(&htim2);

}

static void MX_TIM6_Init(void)
{

  TIM_MasterConfigTypeDef sMasterConfig = {0};

  htim6.Instance = TIM6;
  htim6.Init.Prescaler = 19;
  htim6.Init.CounterMode = TIM_COUNTERMODE_UP;
  htim6.Init.Period = 99;
  htim6.Init.AutoReloadPreload = TIM_AUTORELOAD_PRELOAD_DISABLE;
  if (HAL_TIM_Base_Init(&htim6) != HAL_OK)
  {
    Error_Handler();
  }
  sMasterConfig.MasterOutputTrigger = TIM_TRGO_UPDATE;
  sMasterConfig.MasterSlaveMode = TIM_MASTERSLAVEMODE_DISABLE;
  if (HAL_TIMEx_MasterConfigSynchronization(&htim6, &sMasterConfig) != HAL_OK)
  {
    Error_Handler();
  }

}

static void MX_DMA_Init(void)
{

  /* DMA controller clock enable */
  __HAL_RCC_DMAMUX1_CLK_ENABLE();
  __HAL_RCC_DMA1_CLK_ENABLE();

  /* DMA interrupt init */
  /* DMA1_Channel1_IRQn interrupt configuration */
  HAL_NVIC_SetPriority(DMA1_Channel1_IRQn, 0, 0);
  HAL_NVIC_EnableIRQ(DMA1_Channel1_IRQn);
  /* DMA1_Channel2_IRQn interrupt configuration */
  HAL_NVIC_SetPriority(DMA1_Channel2_IRQn, 0, 0);
  HAL_NVIC_EnableIRQ(DMA1_Channel2_IRQn);

}

static void MX_GPIO_Init(void)
{
  GPIO_InitTypeDef GPIO_InitStruct = {0};

  /* GPIO Ports Clock Enable */
  __HAL_RCC_GPIOE_CLK_ENABLE();
  __HAL_RCC_GPIOC_CLK_ENABLE();
  __HAL_RCC_GPIOF_CLK_ENABLE();
  __HAL_RCC_GPIOH_CLK_ENABLE();
  __HAL_RCC_GPIOA_CLK_ENABLE();
  __HAL_RCC_GPIOB_CLK_ENABLE();
  __HAL_RCC_GPIOD_CLK_ENABLE();
  __HAL_RCC_GPIOG_CLK_ENABLE();
  HAL_PWREx_EnableVddIO2();

  /*Configure GPIO pin Output Level */
  HAL_GPIO_WritePin(PS2_CS_GPIO_Port, PS2_CS_Pin, GPIO_PIN_RESET);

  /*Configure GPIO pins : PE2 PE3 */
  GPIO_InitStruct.Pin = GPIO_PIN_2|GPIO_PIN_3;
  GPIO_InitStruct.Mode = GPIO_MODE_AF_PP;
  GPIO_InitStruct.Pull = GPIO_NOPULL;
  GPIO_InitStruct.Speed = GPIO_SPEED_FREQ_LOW;
  GPIO_InitStruct.Alternate = GPIO_AF13_SAI1;
  HAL_GPIO_Init(GPIOE, &GPIO_InitStruct);

  /*Configure GPIO pins : PF0 PF1 PF2 */
  GPIO_InitStruct.Pin = GPIO_PIN_0|GPIO_PIN_1|GPIO_PIN_2;
  GPIO_InitStruct.Mode = GPIO_MODE_AF_OD;
  GPIO_InitStruct.Pull = GPIO_NOPULL;
  GPIO_InitStruct.Speed = GPIO_SPEED_FREQ_VERY_HIGH;
  GPIO_InitStruct.Alternate = GPIO_AF4_I2C2;
  HAL_GPIO_Init(GPIOF, &GPIO_InitStruct);

  /*Configure GPIO pin : PF7 */
  GPIO_InitStruct.Pin = GPIO_PIN_7;
  GPIO_InitStruct.Mode = GPIO_MODE_AF_PP;
  GPIO_InitStruct.Pull = GPIO_NOPULL;
  GPIO_InitStruct.Speed = GPIO_SPEED_FREQ_LOW;
  GPIO_InitStruct.Alternate = GPIO_AF13_SAI1;
  HAL_GPIO_Init(GPIOF, &GPIO_InitStruct);

  /*Configure GPIO pins : PC0 PC1 PC2 PC3
                           PC4 PC5 */
  GPIO_InitStruct.Pin = GPIO_PIN_0|GPIO_PIN_1|GPIO_PIN_2|GPIO_PIN_3
                          |GPIO_PIN_4|GPIO_PIN_5;
  GPIO_InitStruct.Mode = GPIO_MODE_ANALOG_ADC_CONTROL;
  GPIO_InitStruct.Pull = GPIO_NOPULL;
  HAL_GPIO_Init(GPIOC, &GPIO_InitStruct);

  /*Configure GPIO pins : PA1 PA3 */
  GPIO_InitStruct.Pin = GPIO_PIN_1|GPIO_PIN_3;
  GPIO_InitStruct.Mode = GPIO_MODE_ANALOG_ADC_CONTROL;
  GPIO_InitStruct.Pull = GPIO_NOPULL;
  HAL_GPIO_Init(GPIOA, &GPIO_InitStruct);

  /*Configure GPIO pin : PB0 */
  GPIO_InitStruct.Pin = GPIO_PIN_0;
  GPIO_InitStruct.Mode = GPIO_MODE_AF_PP;
  GPIO_InitStruct.Pull = GPIO_NOPULL;
  GPIO_InitStruct.Speed = GPIO_SPEED_FREQ_LOW;
  GPIO_InitStruct.Alternate = GPIO_AF2_TIM3;
  HAL_GPIO_Init(GPIOB, &GPIO_InitStruct);

  /*Configure GPIO pin : PB1 */
  GPIO_InitStruct.Pin = GPIO_PIN_1;
  GPIO_InitStruct.Mode = GPIO_MODE_ANALOG_ADC_CONTROL;
  GPIO_InitStruct.Pull = GPIO_NOPULL;
  HAL_GPIO_Init(GPIOB, &GPIO_InitStruct);

  /*Configure GPIO pin : PB2 */
  GPIO_InitStruct.Pin = GPIO_PIN_2;
  GPIO_InitStruct.Mode = GPIO_MODE_ANALOG;
  GPIO_InitStruct.Pull = GPIO_NOPULL;
  HAL_GPIO_Init(GPIOB, &GPIO_InitStruct);

  /*Configure GPIO pins : PE7 PE8 PE9 PE10
                           PE11 PE12 PE13 */
  GPIO_InitStruct.Pin = GPIO_PIN_7|GPIO_PIN_8|GPIO_PIN_9|GPIO_PIN_10
                          |GPIO_PIN_11|GPIO_PIN_12|GPIO_PIN_13;
  GPIO_InitStruct.Mode = GPIO_MODE_AF_PP;
  GPIO_InitStruct.Pull = GPIO_NOPULL;
  GPIO_InitStruct.Speed = GPIO_SPEED_FREQ_LOW;
  GPIO_InitStruct.Alternate = GPIO_AF1_TIM1;
  HAL_GPIO_Init(GPIOE, &GPIO_InitStruct);

  /*Configure GPIO pins : PE14 PE15 */
  GPIO_InitStruct.Pin = GPIO_PIN_14|GPIO_PIN_15;
  GPIO_InitStruct.Mode = GPIO_MODE_AF_PP;
  GPIO_InitStruct.Pull = GPIO_NOPULL;
  GPIO_InitStruct.Speed = GPIO_SPEED_FREQ_LOW;
  GPIO_InitStruct.Alternate = GPIO_AF3_TIM1_COMP1;
  HAL_GPIO_Init(GPIOE, &GPIO_InitStruct);

  /*Configure GPIO pins : PB12 PB13 PB15 */
  GPIO_InitStruct.Pin = GPIO_PIN_12|GPIO_PIN_13|GPIO_PIN_15;
  GPIO_InitStruct.Mode = GPIO_MODE_AF_PP;
  GPIO_InitStruct.Pull = GPIO_NOPULL;
  GPIO_InitStruct.Speed = GPIO_SPEED_FREQ_LOW;
  GPIO_InitStruct.Alternate = GPIO_AF13_SAI2;
  HAL_GPIO_Init(GPIOB, &GPIO_InitStruct);

  /*Configure GPIO pin : PB14 */
  GPIO_InitStruct.Pin = GPIO_PIN_14;
  GPIO_InitStruct.Mode = GPIO_MODE_AF_PP;
  GPIO_InitStruct.Pull = GPIO_NOPULL;
  GPIO_InitStruct.Speed = GPIO_SPEED_FREQ_LOW;
  GPIO_InitStruct.Alternate = GPIO_AF14_TIM15;
  HAL_GPIO_Init(GPIOB, &GPIO_InitStruct);

  /*Configure GPIO pins : PD8 PD9 */
  GPIO_InitStruct.Pin = GPIO_PIN_8|GPIO_PIN_9;
  GPIO_InitStruct.Mode = GPIO_MODE_AF_PP;
  GPIO_InitStruct.Pull = GPIO_NOPULL;
  GPIO_InitStruct.Speed = GPIO_SPEED_FREQ_VERY_HIGH;
  GPIO_InitStruct.Alternate = GPIO_AF7_USART3;
  HAL_GPIO_Init(GPIOD, &GPIO_InitStruct);

  /*Configure GPIO pins : PD14 PD15 */
  GPIO_InitStruct.Pin = GPIO_PIN_14|GPIO_PIN_15;
  GPIO_InitStruct.Mode = GPIO_MODE_AF_PP;
  GPIO_InitStruct.Pull = GPIO_NOPULL;
  GPIO_InitStruct.Speed = GPIO_SPEED_FREQ_LOW;
  GPIO_InitStruct.Alternate = GPIO_AF2_TIM4;
  HAL_GPIO_Init(GPIOD, &GPIO_InitStruct);

  /*Configure GPIO pins : PG7 PG8 */
  GPIO_InitStruct.Pin = GPIO_PIN_7|GPIO_PIN_8;
  GPIO_InitStruct.Mode = GPIO_MODE_AF_PP;
  GPIO_InitStruct.Pull = GPIO_NOPULL;
  GPIO_InitStruct.Speed = GPIO_SPEED_FREQ_VERY_HIGH;
  GPIO_InitStruct.Alternate = GPIO_AF8_LPUART1;
  HAL_GPIO_Init(GPIOG, &GPIO_InitStruct);

  /*Configure GPIO pin : PC6 */
  GPIO_InitStruct.Pin = GPIO_PIN_6;
  GPIO_InitStruct.Mode = GPIO_MODE_AF_PP;
  GPIO_InitStruct.Pull = GPIO_NOPULL;
  GPIO_InitStruct.Speed = GPIO_SPEED_FREQ_LOW;
  GPIO_InitStruct.Alternate = GPIO_AF13_SAI2;
  HAL_GPIO_Init(GPIOC, &GPIO_InitStruct);

  /*Configure GPIO pin : PC7 */
  GPIO_InitStruct.Pin = GPIO_PIN_7;
  GPIO_InitStruct.Mode = GPIO_MODE_AF_PP;
  GPIO_InitStruct.Pull = GPIO_NOPULL;
  GPIO_InitStruct.Speed = GPIO_SPEED_FREQ_LOW;
  GPIO_InitStruct.Alternate = GPIO_AF2_TIM3;
  HAL_GPIO_Init(GPIOC, &GPIO_InitStruct);

  /*Configure GPIO pins : PC8 PC9 PC10 PC11
                           PC12 */
  GPIO_InitStruct.Pin = GPIO_PIN_8|GPIO_PIN_9|GPIO_PIN_10|GPIO_PIN_11
                          |GPIO_PIN_12;
  GPIO_InitStruct.Mode = GPIO_MODE_AF_PP;
  GPIO_InitStruct.Pull = GPIO_NOPULL;
  GPIO_InitStruct.Speed = GPIO_SPEED_FREQ_VERY_HIGH;
  GPIO_InitStruct.Alternate = GPIO_AF12_SDMMC1;
  HAL_GPIO_Init(GPIOC, &GPIO_InitStruct);

  /*Configure GPIO pins : PA8 PA10 */
  GPIO_InitStruct.Pin = GPIO_PIN_8|GPIO_PIN_10;
  GPIO_InitStruct.Mode = GPIO_MODE_AF_PP;
  GPIO_InitStruct.Pull = GPIO_NOPULL;
  GPIO_InitStruct.Speed = GPIO_SPEED_FREQ_VERY_HIGH;
  GPIO_InitStruct.Alternate = GPIO_AF10_OTG_FS;
  HAL_GPIO_Init(GPIOA, &GPIO_InitStruct);

  /*Configure GPIO pin : PA9 */
  GPIO_InitStruct.Pin = GPIO_PIN_9;
  GPIO_InitStruct.Mode = GPIO_MODE_INPUT;
  GPIO_InitStruct.Pull = GPIO_NOPULL;
  HAL_GPIO_Init(GPIOA, &GPIO_InitStruct);

  /*Configure GPIO pin : PD0 */
  GPIO_InitStruct.Pin = GPIO_PIN_0;
  GPIO_InitStruct.Mode = GPIO_MODE_AF_PP;
  GPIO_InitStruct.Pull = GPIO_NOPULL;
  GPIO_InitStruct.Speed = GPIO_SPEED_FREQ_VERY_HIGH;
  GPIO_InitStruct.Alternate = GPIO_AF9_CAN1;
  HAL_GPIO_Init(GPIOD, &GPIO_InitStruct);

  /*Configure GPIO pin : PD2 */
  GPIO_InitStruct.Pin = GPIO_PIN_2;
  GPIO_InitStruct.Mode = GPIO_MODE_AF_PP;
  GPIO_InitStruct.Pull = GPIO_NOPULL;
  GPIO_InitStruct.Speed = GPIO_SPEED_FREQ_VERY_HIGH;
  GPIO_InitStruct.Alternate = GPIO_AF12_SDMMC1;
  HAL_GPIO_Init(GPIOD, &GPIO_InitStruct);

  /*Configure GPIO pins : PD3 PD4 PD5 PD6 */
  GPIO_InitStruct.Pin = GPIO_PIN_3|GPIO_PIN_4|GPIO_PIN_5|GPIO_PIN_6;
  GPIO_InitStruct.Mode = GPIO_MODE_AF_PP;
  GPIO_InitStruct.Pull = GPIO_NOPULL;
  GPIO_InitStruct.Speed = GPIO_SPEED_FREQ_VERY_HIGH;
  GPIO_InitStruct.Alternate = GPIO_AF7_USART2;
  HAL_GPIO_Init(GPIOD, &GPIO_InitStruct);

  /*Configure GPIO pins : PB3 PB4 PB5 */
  GPIO_InitStruct.Pin = GPIO_PIN_3|GPIO_PIN_4|GPIO_PIN_5;
  GPIO_InitStruct.Mode = GPIO_MODE_AF_PP;
  GPIO_InitStruct.Pull = GPIO_NOPULL;
  GPIO_InitStruct.Speed = GPIO_SPEED_FREQ_VERY_HIGH;
  GPIO_InitStruct.Alternate = GPIO_AF6_SPI3;
  HAL_GPIO_Init(GPIOB, &GPIO_InitStruct);

  /*Configure GPIO pin : PS2_CS_Pin */
  GPIO_InitStruct.Pin = PS2_CS_Pin;
  GPIO_InitStruct.Mode = GPIO_MODE_OUTPUT_PP;
  GPIO_InitStruct.Pull = GPIO_NOPULL;
  GPIO_InitStruct.Speed = GPIO_SPEED_FREQ_LOW;
  HAL_GPIO_Init(PS2_CS_GPIO_Port, &GPIO_InitStruct);

  /*Configure GPIO pins : PB8 PB9 */
  GPIO_InitStruct.Pin = GPIO_PIN_8|GPIO_PIN_9;
  GPIO_InitStruct.Mode = GPIO_MODE_AF_OD;
  GPIO_InitStruct.Pull = GPIO_NOPULL;
  GPIO_InitStruct.Speed = GPIO_SPEED_FREQ_VERY_HIGH;
  GPIO_InitStruct.Alternate = GPIO_AF4_I2C1;
  HAL_GPIO_Init(GPIOB, &GPIO_InitStruct);

  /*Configure GPIO pin : PE0 */
  GPIO_InitStruct.Pin = GPIO_PIN_0;
  GPIO_InitStruct.Mode = GPIO_MODE_AF_PP;
  GPIO_InitStruct.Pull = GPIO_NOPULL;
  GPIO_InitStruct.Speed = GPIO_SPEED_FREQ_LOW;
  GPIO_InitStruct.Alternate = GPIO_AF2_TIM4;
  HAL_GPIO_Init(GPIOE, &GPIO_InitStruct);

}

void Error_Handler(void)
{
  __disable_irq();
  while (1)
  {
  }
}
